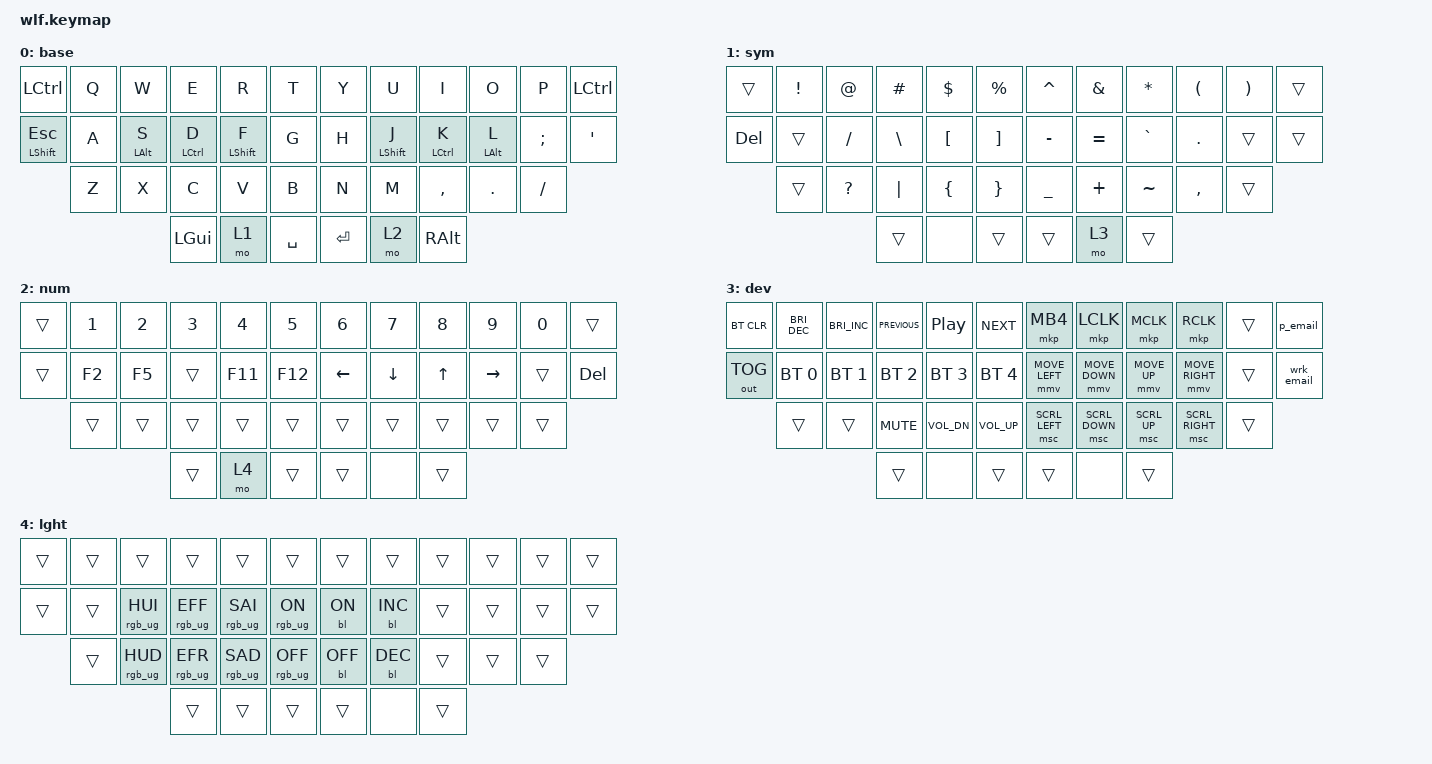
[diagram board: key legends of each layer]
#include <behaviors/rgbled_widget.dtsi>
#include <behaviors.dtsi>
#include <dt-bindings/zmk/backlight.h>
#include <dt-bindings/zmk/bt.h>
#include <dt-bindings/zmk/keys.h>
#include <dt-bindings/zmk/outputs.h>
#include <dt-bindings/zmk/pointing.h>
#include <dt-bindings/zmk/rgb.h>

&msc {
    delay-ms = <0>;
    time-to-max-speed-ms = <100>;
    acceleration-exponent = <1>;
};

&mmv {
    trigger-period-ms = <16>;
    delay-ms = <0>;
    time-to-max-speed-ms = <300>;
    acceleration-exponent = <1>;
};

/ {
    combos {
        compatible = "zmk,combos";

        bat_cb {
            timeout-ms = <50>;
            key-positions = <35 36>; // Left thumb: mo 1 + Space
            bindings = <&ind_bat>;
            slow-release;
            layers = <0>;
        };

        conn_cb {
            bindings = <&ind_con>;
            key-positions = <37 38>;
            layers = <0>;
            slow-release;
        };

        tab_cb {
            bindings = <&kp TAB>;
            key-positions = <1 2>;
            layers = <0>;
            slow-release;
        };

        home_cb {
            bindings = <&kp HOME>;
            key-positions = <18 19>;
            layers = <0>;
            slow-release;
        };

        end_cb {
            bindings = <&kp END>;
            key-positions = <20 21>;
            layers = <0>;
            slow-release;
        };

        bksp_cb {
            bindings = <&kp BACKSPACE>;
            key-positions = <19 20>;
            layers = <0>;
            slow-release;
        };

        ctrl_w_cb {
            bindings = <&kp LC(W)>;
            key-positions = <2 3>;
            layers = <0>;
            slow-release;
        };

        ctrl_a_cb {
            bindings = <&kp LC(A)>;
            key-positions = <14 15>;
            slow-release;
            layers = <0>;
        };

        enter_cb {
            bindings = <&kp ENTER>;
            key-positions = <16 17>;
            layers = <0>;
            slow-release;
        };

        pgup_cb {
            bindings = <&kp PAGE_UP>;
            key-positions = <7 6>;
            layers = <0>;
            slow-release;
        };

        pgdn_cb {
            bindings = <&kp PAGE_DOWN>;
            key-positions = <29 30>;
            layers = <0>;
            slow-release;
        };

        next_cb {
            bindings = <&kp LG(RIGHT_BRACKET)>;
            key-positions = <5 4>;
            slow-release;
            layers = <0>;
        };

        prev_cb {
            bindings = <&kp LG(LEFT_BRACKET)>;
            key-positions = <28 27>;
            slow-release;
            layers = <0>;
        };

        safari_tabs {
            bindings = <&kp LS(LG(BACKSLASH))>;
            key-positions = <0 1 2>;
        };
    };

    macros {
        p_email: type_email {
            compatible = "zmk,behavior-macro";
            #binding-cells = <0>;
            bindings = <&kp W &kp I &kp L &kp L &kp I &kp A &kp M &kp A &kp M &kp A &kp R &kp A &kp L &kp N5 &kp N2 &kp N1 &kp AT &kp G &kp M &kp A &kp I &kp L &kp DOT &kp C &kp O &kp M>;
            label = "TYPE_EMAIL";
        };

        wrk_email: type_wrk_email {
            compatible = "zmk,behavior-macro";
            #binding-cells = <0>;
            bindings = <&kp W &kp I &kp L &kp L &kp I &kp A &kp M &kp DOT &kp A &kp DOT &kp C &kp O &kp S &kp T &kp A &kp AT &kp B &kp R &kp A &kp D &kp E &kp S &kp C &kp O &kp DOT &kp C &kp O &kp M &kp DOT &kp B &kp R>;
            label = "TYPE_WRK_EMAIL";
        };
    };

    behaviors {
        td_media: td_media {
            compatible = "zmk,behavior-tap-dance";
            label = "TD_MEDIA";
            #binding-cells = <0>;
            bindings = <&mo 1>, <&mo 0>;
        };

        td_light: td_light {
            compatible = "zmk,behavior-tap-dance";
            label = "TD_LIGHT";
            #binding-cells = <0>;
            bindings = <&mo 2>, <&mo 4>;
        };

        hrm_left: hrm_left {
            compatible = "zmk,behavior-hold-tap";
            label = "HRM_LEFT";
            bindings = <&kp>, <&kp>;

            #binding-cells = <2>;
            tapping-term-ms = <245>;
            quick-tap-ms = <160>;
            require-prior-idle-ms = <125>;
            flavor = "balanced";
            hold-trigger-key-positions = <6 7 8 9 10 11 18 19 20 21 22 23 29 30 31 32 33 37 38 39>;
            hold-trigger-on-release;
        };

        hrm_right: hrm_right {
            compatible = "zmk,behavior-hold-tap";
            label = "HRM_RIGHT";
            bindings = <&kp>, <&kp>;

            #binding-cells = <2>;
            tapping-term-ms = <245>;
            quick-tap-ms = <160>;
            require-prior-idle-ms = <125>;
            flavor = "balanced";
            hold-trigger-key-positions = <0 1 2 3 4 5 12 13 14 15 16 17 24 25 26 27 28 34 35 36>;
            hold-trigger-on-release;
        };
    };

    keymap {
        compatible = "zmk,keymap";

        base {
            display-name = "base";
            bindings = <
&kp LEFT_CONTROL       &kp Q  &kp W                 &kp E                     &kp R                   &kp T      &kp Y      &kp U                    &kp I                      &kp O                  &kp P     &kp LEFT_CONTROL
&mt LEFT_SHIFT ESCAPE  &kp A  &hrm_left LEFT_ALT S  &hrm_left LEFT_CONTROL D  &hrm_left LEFT_SHIFT F  &kp G      &kp H      &hrm_right LEFT_SHIFT J  &hrm_right LEFT_CONTROL K  &hrm_right LEFT_ALT L  &kp SEMI  &kp SINGLE_QUOTE
                       &kp Z  &kp X                 &kp C                     &kp V                   &kp B      &kp N      &kp M                    &kp COMMA                  &kp DOT                &kp FSLH
                                                    &kp LGUI                  &mo 1                   &kp SPACE  &kp ENTER  &mo 2                    &kp RALT
            >;
        };

        symbol {
            display-name = "sym";
            bindings = <
&trans      &kp EXCL  &kp AT        &kp HASH       &kp DLLR          &kp PRCNT          &kp CARET  &kp AMPS   &kp ASTRK  &kp LPAR    &kp RPAR  &trans
&kp DELETE  &trans    &kp SLASH     &kp BACKSLASH  &kp LEFT_BRACKET  &kp RIGHT_BRACKET  &kp MINUS  &kp EQUAL  &kp GRAVE  &kp PERIOD  &trans    &trans
            &trans    &kp QUESTION  &kp PIPE       &kp LEFT_BRACE    &kp RIGHT_BRACE    &kp UNDER  &kp PLUS   &kp TILDE  &kp COMMA   &trans
                                    &trans         &none             &trans             &trans     &mo 3      &trans
            >;
        };

        number {
            display-name = "num";
            bindings = <
&trans  &kp NUMBER_1  &kp NUMBER_2  &kp NUMBER_3  &kp NUMBER_4  &kp N5   &kp NUMBER_6  &kp N7    &kp N8  &kp N9     &kp NUMBER_0  &trans
&trans  &kp F2        &kp F5        &trans        &kp F11       &kp F12  &kp LEFT      &kp DOWN  &kp UP  &kp RIGHT  &trans        &kp DEL
        &trans        &trans        &trans        &trans        &trans   &trans        &trans    &trans  &trans     &trans
                                    &trans        &mo 4         &trans   &trans        &none     &trans
            >;
        };

        device {
            display-name = "dev";
            bindings = <
&bt BT_CLR    &kp C_BRIGHTNESS_DEC  &kp C_BRIGHTNESS_INC  &kp C_PREVIOUS  &kp C_PLAY_PAUSE  &kp C_NEXT       &mkp MB4        &mkp LCLK       &mkp MCLK     &mkp RCLK        &trans  &p_email
&out OUT_TOG  &bt BT_SEL 0          &bt BT_SEL 1          &bt BT_SEL 2    &bt BT_SEL 3      &bt BT_SEL 4     &mmv MOVE_LEFT  &mmv MOVE_DOWN  &mmv MOVE_UP  &mmv MOVE_RIGHT  &trans  &wrk_email
              &trans                &trans                &kp C_MUTE      &kp C_VOL_DN      &kp C_VOLUME_UP  &msc SCRL_LEFT  &msc SCRL_DOWN  &msc SCRL_UP  &msc SCRL_RIGHT  &trans
                                                          &trans          &none             &trans           &trans          &none           &trans
            >;
        };

        light {
            display-name = "lght";
            bindings = <
&trans  &trans  &trans           &trans           &trans           &trans           &trans      &trans      &trans  &trans  &trans  &trans
&trans  &trans  &rgb_ug RGB_HUI  &rgb_ug RGB_EFF  &rgb_ug RGB_SAI  &rgb_ug RGB_ON   &bl BL_ON   &bl BL_INC  &trans  &trans  &trans  &trans
        &trans  &rgb_ug RGB_HUD  &rgb_ug RGB_EFR  &rgb_ug RGB_SAD  &rgb_ug RGB_OFF  &bl BL_OFF  &bl BL_DEC  &trans  &trans  &trans
                                 &trans           &trans           &trans           &trans      &none       &trans
            >;
        };
    };

    conditional_layers { compatible = "zmk,conditional-layers"; };
};
